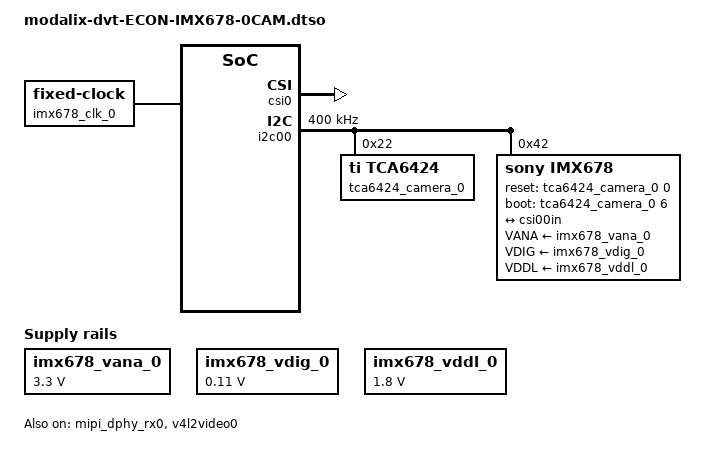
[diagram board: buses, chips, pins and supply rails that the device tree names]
// SPDX-License-Identifier: (GPL-2.0+ OR MIT)
/*
 * Copyright (c) 2024 SiMa ai
 */

/dts-v1/;
/plugin/;

&{/} {
    imx678_vana_0: csi0_fixedregulator@0 {
        compatible = "regulator-fixed";
        regulator-name = "imx678_vana_0";
        regulator-min-microvolt = <3300000>;
        regulator-max-microvolt = <3300000>;
        enable-active-high;
        startup-delay-us = <300000>;
        regulator-always-on;
    };
    imx678_vdig_0: csi0_fixedregulator@1 {
        compatible = "regulator-fixed";
        regulator-name = "imx678_vdig_0";
        regulator-min-microvolt = <110000>;
        regulator-max-microvolt = <110000>;
        regulator-always-on;
    };
    imx678_vddl_0: csi0_fixedregulator@2 {
        compatible = "regulator-fixed";
        regulator-name = "imx678_vddl_0";
        regulator-min-microvolt = <1800000>;
        regulator-max-microvolt = <1800000>;
        regulator-always-on;
    };
    imx678_clk_0: csi0_camera-clk {
        compatible = "fixed-clock";
        #clock-cells = <0>;
        clock-frequency = <24000000>;
    };
};

&csi0 {
    status = "okay";
};

&axi_vdma0 {
    status = "okay";
};

&mipi_dphy_rx0 {
    status = "okay";
};

&v4l2video0 {
    status = "okay";
};

&v4l2vdma0 {
    status = "okay";
};

&csi00in {
    clock-lanes = <0>;
    data-lanes = <1 2 3 4>;
    link-frequencies = /bits/ 64 <450000000>;
    remote-endpoint = <&cam00out>;
    clock-continuous;
};

&i2c00 {
    status = "okay";
    clock-frequency = <400000>;
    #address-cells = <1>;
    #size-cells = <0>;

    tca6424_camera_0: tca6424@22 {
        compatible = "ti,tca6424";
        gpio-controller;
        #gpio-cells = <2>;
        reg = <0x22>;
        status = "okay";
    };

    imx678: imx678@42 {
        compatible = "sony,imx678";
        reg = <0x42>;

        clocks = <&imx678_clk_0>;
        clock-names = "xclk";

        VANA-supply = <&imx678_vana_0>;
        VDIG-supply = <&imx678_vdig_0>;
        VDDL-supply = <&imx678_vddl_0>;

        reset-gpios = <&tca6424_camera_0 0 0>;
        boot-gpios = <&tca6424_camera_0 6 0>;

        camera_mipi_lanes = <4>;
        cam_fw_name = "imx678_cam_fw.bin";

        port@1 {
            cam00out: endpoint@0 {
                clock-lanes = <0>;
                data-lanes = <1 2 3 4>;
                link-frequencies = /bits/ 64 <450000000>;
                remote-endpoint = <&csi00in>;
                clock-continuous;
            };
        };
    };
};
